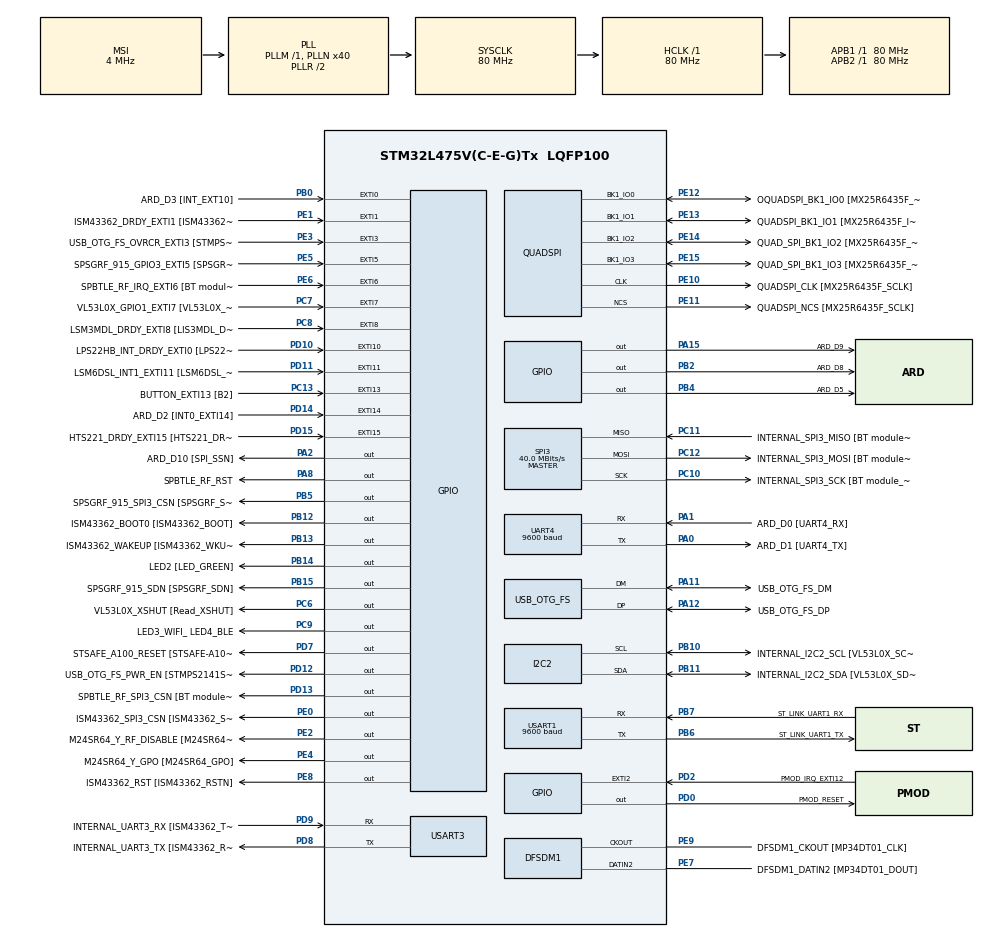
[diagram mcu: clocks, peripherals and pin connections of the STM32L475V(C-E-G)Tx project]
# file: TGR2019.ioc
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Mcu.Family=STM32L4
Mcu.Name=STM32L475V(C-E-G)Tx
Mcu.Package=LQFP100
NVIC.EXTI15_10_IRQn=true\:0\:0\:false\:false\:true\:true
NVIC.EXTI9_5_IRQn=true\:0\:0\:false\:false\:true\:true
NVIC.PriorityGroup=NVIC_PRIORITYGROUP_4
NVIC.TIM6_DAC_IRQn=true\:1\:0\:true\:false\:true\:true
NVIC.UART4_IRQn=true\:3\:0\:true\:false\:true\:true
NVIC.USART1_IRQn=true\:2\:0\:true\:false\:true\:true
PA0.GPIO_Label=ARD_D1 [UART4_TX]
PA0.Mode=Asynchronous
PA0.Signal=UART4_TX
PA1.GPIO_Label=ARD_D0 [UART4_RX]
PA1.Mode=Asynchronous
PA1.Signal=UART4_RX
PA10.GPIO_Label=USB_OTG_FS_ID
PA10.Signal=USB_OTG_FS_ID
PA11.GPIO_Label=USB_OTG_FS_DM
PA11.Mode=Device_Only
PA11.Signal=USB_OTG_FS_DM
PA12.GPIO_Label=USB_OTG_FS_DP
PA12.Mode=Device_Only
PA12.Signal=USB_OTG_FS_DP
PA13\ (JTMS-SWDIO).GPIO_Label=SYS_JTMS_SWDIO
PA13\ (JTMS-SWDIO).Mode=Serial_Wire
PA13\ (JTMS-SWDIO).Signal=SYS_JTMS-SWDIO
PA14\ (JTCK-SWCLK).GPIO_Label=SYS_JTCK_SWCLK
PA14\ (JTCK-SWCLK).Mode=Serial_Wire
PA14\ (JTCK-SWCLK).Signal=SYS_JTCK-SWCLK
PA15\ (JTDI).GPIO_Label=ARD_D9
PA15\ (JTDI).Signal=GPIO_Output
PA2.GPIO_Label=ARD_D10 [SPI_SSN]
PA2.Signal=GPIO_Output
PA3.GPIO_Label=ARD_D4
PA3.Signal=S_TIM2_CH4
PA4.GPIO_Label=ARD_D7
PA4.Signal=ADCx_IN9
PA5.GPIO_Label=ARD_D13 [SPI1_SCK]
PA5.Signal=SPI1_SCK
PA6.GPIO_Label=ARD_D12 [SPI1_MISO]
PA6.Signal=SPI1_MISO
PA7.GPIO_Label=ARD_D11 [SPI1_MOSI]
PA7.Signal=SPI1_MOSI
PA8.GPIO_Label=SPBTLE_RF_RST
PA8.Signal=GPIO_Output
PA9.GPIO_Label=USB_OTG_FS_VBUS [STMPS2141STR_OUT]
PA9.Signal=USB_OTG_FS_VBUS
PB0.GPIO_Label=ARD_D3 [INT_EXT10]
PB0.Signal=GPXTI0
PB1.GPIO_Label=ARD_D6 [ADC1_IN6]
PB1.Signal=ADCx_IN16
PB10.GPIO_Label=INTERNAL_I2C2_SCL [VL53L0X_SCL]
PB10.Mode=I2C
PB10.Signal=I2C2_SCL
PB11.GPIO_Label=INTERNAL_I2C2_SDA [VL53L0X_SDA]
PB11.Mode=I2C
PB11.Signal=I2C2_SDA
PB12.GPIO_Label=ISM43362_BOOT0 [ISM43362_BOOT]
PB12.Signal=GPIO_Output
PB13.GPIO_Label=ISM43362_WAKEUP [ISM43362_WKUP]
PB13.Signal=GPIO_Output
PB14.GPIO_Label=LED2 [LED_GREEN]
PB14.Signal=GPIO_Output
PB15.GPIO_Label=SPSGRF_915_SDN [SPSGRF_SDN]
PB15.Signal=GPIO_Output
PB2.GPIO_Label=ARD_D8
PB2.Signal=GPIO_Output
PB3\ (JTDO-TRACESWO).GPIO_Label=SYS_JTD0_SWO
PB3\ (JTDO-TRACESWO).Signal=SYS_JTDO-SWO
PB4\ (NJTRST).GPIO_Label=ARD_D5
PB4\ (NJTRST).Signal=GPIO_Output
PB5.GPIO_Label=SPSGRF_915_SPI3_CSN [SPSGRF_SPI_CS]
PB5.Signal=GPIO_Output
PB6.GPIO_Label=ST_LINK_UART1_TX
PB6.Mode=Asynchronous
PB6.Signal=USART1_TX
PB7.GPIO_Label=ST_LINK_UART1_RX
PB7.Mode=Asynchronous
PB7.Signal=USART1_RX
PB8.GPIO_Label=ARD_D15 [I2C1_SCL]
PB8.Signal=I2C1_SCL
PB9.GPIO_Label=ARD_D14 [I2C1_SDA]
PB9.Signal=I2C1_SDA
PC0.GPIO_Label=ARD_A5 [ADC]
PC0.Signal=ADCx_IN1
PC1.GPIO_Label=ARD_A4 [ADC]
PC1.Signal=ADCx_IN2
PC10.GPIO_Label=INTERNAL_SPI3_SCK [BT module_SPI_SCLK]
PC10.Mode=Full_Duplex_Master
PC10.Signal=SPI3_SCK
PC11.GPIO_Label=INTERNAL_SPI3_MISO [BT module_SPI_MISO]
PC11.Mode=Full_Duplex_Master
PC11.Signal=SPI3_MISO
PC12.GPIO_Label=INTERNAL_SPI3_MOSI [BT module_SPI_MOSI]
PC12.Mode=Full_Duplex_Master
PC12.Signal=SPI3_MOSI
PC13.GPIO_Label=BUTTON_EXTI13 [B2]
PC13.GPIO_ModeDefaultEXTI=GPIO_MODE_IT_FALLING
PC13.Signal=GPXTI13
PC14-OSC32_IN\ (PC14).Mode=LSE-External-Oscillator
PC14-OSC32_IN\ (PC14).Signal=RCC_OSC32_IN
PC15-OSC32_OUT\ (PC15).Mode=LSE-External-Oscillator
PC15-OSC32_OUT\ (PC15).Signal=RCC_OSC32_OUT
PC2.GPIO_Label=ARD_A3 [ADC]
PC2.Signal=ADCx_IN3
PC3.GPIO_Label=ARD_A2 [ADC]
PC3.Signal=ADCx_IN4
PC4.GPIO_Label=ARD_A1 [ADC]
PC4.Signal=ADCx_IN13
PC5.GPIO_Label=ARD_A0 [ADC]
PC5.Signal=ADCx_IN14
PC6.GPIO_Label=VL53L0X_XSHUT [Read_XSHUT]
PC6.Signal=GPIO_Output
PC7.GPIO_Label=VL53L0X_GPIO1_EXTI7 [VL53L0X_GPIO1]
PC7.Signal=GPXTI7
PC8.GPIO_Label=LSM3MDL_DRDY_EXTI8 [LIS3MDL_DRDY]
PC8.Signal=GPXTI8
PC9.GPIO_Label=LED3_WIFI_ LED4_BLE
PC9.Signal=GPIO_Output
PD0.GPIO_Label=PMOD_RESET
PD0.Signal=GPIO_Output
PD1.GPIO_Label=PMOD_SPI2_SCK
PD1.Signal=SPI2_SCK
PD10.GPIO_Label=LPS22HB_INT_DRDY_EXTI0 [LPS22HB_INT_DRDY] 
PD10.Signal=GPXTI10
PD11.GPIO_Label=LSM6DSL_INT1_EXTI11 [LSM6DSL_INT1]
PD11.Signal=GPXTI11
PD12.GPIO_Label=USB_OTG_FS_PWR_EN [STMPS2141STR_EN]
PD12.Signal=GPIO_Output
PD13.GPIO_Label=SPBTLE_RF_SPI3_CSN [BT module_SPI_CS]
PD13.Signal=GPIO_Output
PD14.GPIO_Label=ARD_D2 [INT0_EXTI14]
PD14.Signal=GPXTI14
PD15.GPIO_Label=HTS221_DRDY_EXTI15 [HTS221_DRDY]
PD15.Signal=GPXTI15
PD2.GPIO_Label=PMOD_IRQ_EXTI12
PD2.Signal=GPXTI2
PD3.GPIO_Label=PMOD_UART2_CTS
PD3.Signal=USART2_CTS
PD4.GPIO_Label=PMOD_UART2_RTS
PD4.Signal=USART2_RTS
PD5.GPIO_Label=PMOD_UART2_TX
PD5.Signal=USART2_TX
PD6.GPIO_Label=PMOD_UART2_RX
PD6.Signal=USART2_RX
PD7.GPIO_Label=STSAFE_A100_RESET [STSAFE-A100_RESET]
PD7.Signal=GPIO_Output
PD8.GPIO_Label=INTERNAL_UART3_TX [ISM43362_RX]
PD8.Mode=Asynchronous
PD8.Signal=USART3_TX
PD9.GPIO_Label=INTERNAL_UART3_RX [ISM43362_TX]
PD9.Mode=Asynchronous
PD9.Signal=USART3_RX
PE0.GPIO_Label=ISM43362_SPI3_CSN [ISM43362_SSN]
PE0.Signal=GPIO_Output
PE1.GPIO_Label=ISM43362_DRDY_EXTI1 [ISM43362_DATARDY]
PE1.Signal=GPXTI1
PE10.GPIO_Label=QUADSPI_CLK [MX25R6435F_SCLK]
PE10.Mode=Single Bank
PE10.Signal=QUADSPI_CLK
PE11.GPIO_Label=QUADSPI_NCS [MX25R6435F_SCLK]
PE11.Mode=Single Bank
PE11.Signal=QUADSPI_NCS
PE12.GPIO_Label=OQUADSPI_BK1_IO0 [MX25R6435F_IO0]
PE12.Mode=Single Bank
PE12.Signal=QUADSPI_BK1_IO0
PE13.GPIO_Label=QUADSPI_BK1_IO1 [MX25R6435F_IO1]
PE13.Mode=Single Bank
PE13.Signal=QUADSPI_BK1_IO1
PE14.GPIO_Label=QUAD_SPI_BK1_IO2 [MX25R6435F_IO2]
PE14.Mode=Single Bank
PE14.Signal=QUADSPI_BK1_IO2
PE15.GPIO_Label=QUAD_SPI_BK1_IO3 [MX25R6435F_IO3]
PE15.Mode=Single Bank
PE15.Signal=QUADSPI_BK1_IO3
PE2.GPIO_Label=M24SR64_Y_RF_DISABLE [M24SR64_RFDIS]
PE2.Signal=GPIO_Output
PE3.GPIO_Label=USB_OTG_FS_OVRCR_EXTI3 [STMPS2141STR_FAULT]
PE3.Signal=GPXTI3
PE4.GPIO_Label=M24SR64_Y_GPO [M24SR64_GPO]
PE4.Signal=GPIO_Output
PE5.GPIO_Label=SPSGRF_915_GPIO3_EXTI5 [SPSGRF_GPIO_3]
PE5.Signal=GPXTI5
PE6.GPIO_Label=SPBTLE_RF_IRQ_EXTI6 [BT module_SPI_IRQ]
PE6.Signal=GPXTI6
PE7.GPIO_Label=DFSDM1_DATIN2 [MP34DT01_DOUT]
PE7.Signal=S_DATAIN2DFSDM1
PE8.GPIO_Label=ISM43362_RST [ISM43362_RSTN]
PE8.Signal=GPIO_Output
PE9.GPIO_Label=DFSDM1_CKOUT [MP34DT01_CLK]
PE9.Signal=S_CKOUTDFSDM1
ProjectManager.HeapSize=0x200
ProjectManager.StackSize=0x400
ProjectManager.TargetToolchain=TrueSTUDIO
RCC.ADCFreq_Value=48000000
RCC.AHBFreq_Value=80000000
RCC.APB1Freq_Value=80000000
RCC.APB1TimFreq_Value=80000000
RCC.APB2Freq_Value=80000000
RCC.APB2TimFreq_Value=80000000
RCC.CortexFreq_Value=80000000
RCC.HCLKFreq_Value=80000000
RCC.HSE_VALUE=8000000
RCC.HSI_VALUE=16000000
RCC.MSI_VALUE=4000000
RCC.PLLN=40
RCC.PLLSAI1N=24
RCC.SYSCLKFreq_VALUE=80000000
RCC.SYSCLKSource=RCC_SYSCLKSOURCE_PLLCLK
RCC.USBFreq_Value=48000000
RCC.VCOOutputFreq_Value=160000000
SH.ADCx_IN1.0=ADC1_IN1
SH.ADCx_IN13.0=ADC1_IN13
SH.ADCx_IN14.0=ADC1_IN14
SH.ADCx_IN16.0=ADC1_IN16
SH.ADCx_IN2.0=ADC1_IN2
SH.ADCx_IN3.0=ADC1_IN3
SH.ADCx_IN4.0=ADC1_IN4
SH.ADCx_IN9.0=ADC1_IN9
SH.S_CKOUTDFSDM1.0=DFSDM1_CKOUT,CKOUT
SH.S_CKOUTDFSDM1.1=DFSDM1_CKOUT,PDM_SPI_Input_from_ch12_and_Internal_Clock
SH.S_DATAIN2DFSDM1.0=DFSDM1_DATIN2,PDM_SPI_Input_from_ch12_and_Internal_Clock
SH.S_TIM2_CH4.0=TIM2_CH4
SPI3.CalculateBaudRate=40.0 MBits/s
SPI3.Direction=SPI_DIRECTION_2LINES
SPI3.Mode=SPI_MODE_MASTER
SPI3.VirtualType=VM_MASTER
TIM6.Period=40000
TIM6.Prescaler=999
UART4.BaudRate=9600
USART1.BaudRate=9600
USART1.VirtualMode-Asynchronous=VM_ASYNC
USART3.VirtualMode-Asynchronous=VM_ASYNC
USB_OTG_FS.VirtualMode=Device_Only
VP_TIM6_VS_ClockSourceINT.Mode=Enable_Timer
board=B-L475E-IOT01A

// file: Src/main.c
/* USER CODE BEGIN Header */
/**
 ******************************************************************************
 * @file           : main.c
 * @brief          : Main program body
 ******************************************************************************
 ** This notice applies to any and all portions of this file
 * that are not between comment pairs USER CODE BEGIN and
 * USER CODE END. Other portions of this file, whether
 * inserted by the user or by software development tools
 * are owned by their respective copyright owners.
 *
 * COPYRIGHT(c) 2019 STMicroelectronics
 *
 * Redistribution and use in source and binary forms, with or without modification,
 * are permitted provided that the following conditions are met:
 *   1. Redistributions of source code must retain the above copyright notice,
 *      this list of conditions and the following disclaimer.
 *   2. Redistributions in binary form must reproduce the above copyright notice,
 *      this list of conditions and the following disclaimer in the documentation
 *      and/or other materials provided with the distribution.
 *   3. Neither the name of STMicroelectronics nor the names of its contributors
 *      may be used to endorse or promote products derived from this software
 *      without specific prior written permission.
 *
 * THIS SOFTWARE IS PROVIDED BY THE COPYRIGHT HOLDERS AND CONTRIBUTORS "AS IS"
 * AND ANY EXPRESS OR IMPLIED WARRANTIES, INCLUDING, BUT NOT LIMITED TO, THE
 * IMPLIED WARRANTIES OF MERCHANTABILITY AND FITNESS FOR A PARTICULAR PURPOSE ARE
 * DISCLAIMED. IN NO EVENT SHALL THE COPYRIGHT HOLDER OR CONTRIBUTORS BE LIABLE
 * FOR ANY DIRECT, INDIRECT, INCIDENTAL, SPECIAL, EXEMPLARY, OR CONSEQUENTIAL
 * DAMAGES (INCLUDING, BUT NOT LIMITED TO, PROCUREMENT OF SUBSTITUTE GOODS OR
 * SERVICES; LOSS OF USE, DATA, OR PROFITS; OR BUSINESS INTERRUPTION) HOWEVER
 * CAUSED AND ON ANY THEORY OF LIABILITY, WHETHER IN CONTRACT, STRICT LIABILITY,
 * OR TORT (INCLUDING NEGLIGENCE OR OTHERWISE) ARISING IN ANY WAY OUT OF THE USE
 * OF THIS SOFTWARE, EVEN IF ADVISED OF THE POSSIBILITY OF SUCH DAMAGE.
 *
 ******************************************************************************
 */
/* USER CODE END Header */

#include "main.h"
#include <stdlib.h>
#include <string.h>
#include "math.h"

/* USER CODE BEGIN PD */
#define LPP_DATATYPE_DIGITAL_INPUT  0x0
#define LPP_DATATYPE_DIGITAL_OUTPUT 0x1
#define LPP_DATATYPE_HUMIDITY       0x68
#define LPP_DATATYPE_TEMPERATURE    0x67
#define LPP_DATATYPE_BAROMETER      0x73
#define LPP_DATATYPE_ANAGLOG_OUTPUT 0x3
#define LPP_DATATYPE_ACCMETER 0x71
#define LPP_DATATYPE_GYRMETER 0x86
#define LPP_APP_PORT 99
#define PI 3.141
/* USER CODE END PD */

DFSDM_Channel_HandleTypeDef hdfsdm1_channel1;

I2C_HandleTypeDef hi2c2;

QSPI_HandleTypeDef hqspi;

SPI_HandleTypeDef hspi3;

TIM_HandleTypeDef htim6;

UART_HandleTypeDef huart4;
UART_HandleTypeDef huart1;
UART_HandleTypeDef huart3;

PCD_HandleTypeDef hpcd_USB_OTG_FS;

/* USER CODE BEGIN PV */
extern I2C_HandleTypeDef hI2cHandler;
VL53L0X_Dev_t Dev = { .I2cHandle = &hI2cHandler, .I2cDevAddr =
PROXIMITY_I2C_ADDRESS };
/* USER CODE END PV */

void SystemClock_Config(void);
static void MX_GPIO_Init(void);
static void MX_DFSDM1_Init(void);
static void MX_I2C2_Init(void);
static void MX_QUADSPI_Init(void);
static void MX_SPI3_Init(void);
static void MX_USART1_UART_Init(void);
static void MX_USART3_UART_Init(void);
static void MX_USB_OTG_FS_PCD_Init(void);
static void MX_TIM6_Init(void);
static void MX_UART4_Init(void);
/* USER CODE BEGIN PFP */
static void VL53L0X_PROXIMITY_MspInit(void);
static uint16_t VL53L0X_PROXIMITY_GetDistance(void);
static void VL53L0X_PROXIMITY_Init(void);
void Send_Data(uint8_t *Data_DAT, uint8_t len_DAT);
void Function_Send_Sensor(uint8_t Sensor_DAT);
void sendToTerminal(uint8_t *Data_DAT, uint8_t len_DAT);
void delay(int time);
void putData(char* text);
static float convertToDegree(int16_t* magValue);
void getData(void);
/* USER CODE END PFP */

/* USER CODE BEGIN 0 */
float Temp_Value;
float Hum_Value;
float Pressure_Value;
int16_t Acc_Value[3] = { 0 };
float Gyro_Value[3] = { 0 };
int16_t Mag_Value[3] = { 0 };
uint16_t Prox_Value;
float gyrX, gyrY, gyrZ;

uint8_t sendBuff[64];
uint8_t sendCheck[64];
uint8_t isJoin[64];

static uint8_t len;
extern uint16_t RX_BUFF[64];
extern uint8_t SERIAL_ACTIVE;
/* USER CODE END 0 */

int main(void) {

	/* MCU Configuration--------------------------------------------------------*/

	/* Reset of all peripherals, Initializes the Flash interface and the Systick. */
	HAL_Init();

	/* Configure the system clock */
	SystemClock_Config();

	/* Initialize all configured peripherals */
	MX_GPIO_Init();
	MX_DFSDM1_Init();
	MX_I2C2_Init();
	MX_QUADSPI_Init();
	MX_SPI3_Init();
	MX_USART1_UART_Init();
	MX_USART3_UART_Init();
	MX_USB_OTG_FS_PCD_Init();
	MX_TIM6_Init();
	MX_UART4_Init();
	/* USER CODE BEGIN 2 */
	BSP_PSENSOR_Init();
	BSP_TSENSOR_Init();
	BSP_GYRO_Init();
	BSP_ACCELERO_Init();
	BSP_HSENSOR_Init();
	BSP_MAGNETO_Init();

	VL53L0X_PROXIMITY_Init();

	__HAL_UART_ENABLE_IT(&huart1, UART_IT_RXNE);

	__HAL_UART_ENABLE_IT(&huart4, UART_IT_RXNE);

	__HAL_TIM_ENABLE_IT(&htim6, TIM_IT_UPDATE);

	len = sprintf(sendCheck, "Hi\n");
	sendToTerminal(sendCheck, len);
//	len = sprintf(sendCheck, "%d", len);
//	checkData(sendCheck, len);

	/* USER CODE END 2 */
	len = sprintf(sendBuff, "AT\n");
	Send_Data(sendBuff, len);
	delay(1000);
	len = sprintf(sendBuff, "AT+JOIN\n");
	Send_Data(sendBuff, len);
	delay(2000);
	uint8_t isConnect = '0';
	while (isConnect != '1') {

		len = sprintf(sendBuff, "AT+NJS=?\n");
		getData();
		Send_Data(sendBuff, len);
		len = sprintf(sendCheck, "AT+NJS=?\n");
		sendToTerminal(sendCheck, len);
		len = sprintf(sendCheck, "waiting\n");
		sendToTerminal(sendCheck, len);
		len = sprintf(sendCheck, "Status:%s\n\n\n", (char*) isJoin);
		sendToTerminal(sendCheck, len);

		isConnect = isJoin[0];
		delay(3000);
	}
	len = sprintf(sendCheck, "Cennected to lora !\n");
	sendToTerminal(sendCheck, len);
//	len = sprintf(sendBuff, "AT+NJS=?\n");
//	Send_Data(sendBuff, len);
//	delay(6000);
//	len = sprintf(sendBuff, "AT+NJS=?\n");
//	Send_Data(sendBuff, len);
	BSP_MAGNETO_GetXYZ(Mag_Value);
	uint8_t pIn = 0, pOut = 0;
	uint8_t timeCount = 60;
	float initMagDegs = convertToDegree(Mag_Value);
	uint8_t currentQ = 0;
	uint8_t nextQ = 0;
	len = sprintf(sendCheck, "Test");
	sendToTerminal(sendCheck, len);
	len = sprintf(sendCheck, "Degs: %f\n", initMagDegs);
	sendToTerminal(sendCheck, len);
	if ((initMagDegs > 0.0) && (initMagDegs <= 90.0)) {
		currentQ = 1;
	} else if ((initMagDegs > 90.0) && (initMagDegs <= 180.0)) {
		currentQ = 2;
	} else if ((initMagDegs > 180.0) && (initMagDegs <= 270.0)) {
		currentQ = 3;
	} else if (initMagDegs > 270.0) {
		currentQ = 4;
	}
	while (1) {
		BSP_MAGNETO_GetXYZ(Mag_Value);
		// setup value
		float currentMagDegs = convertToDegree(Mag_Value);

		len = sprintf(sendCheck, "Current Degs: %f\n", currentMagDegs);
		sendToTerminal(sendCheck, len);

		len = sprintf(sendCheck, "Current Q: %u\n", currentQ);
		sendToTerminal(sendCheck, len);

		if ((currentMagDegs > 0.0) && (currentMagDegs <= 90.0)) {
			nextQ = 1;
		} else if ((currentMagDegs > 90.0) && (currentMagDegs <= 180.0)) {
			nextQ = 2;
		} else if ((currentMagDegs > 180.0) && (currentMagDegs <= 270.0)) {
			nextQ = 3;
		} else if (currentMagDegs > 270.0) {
			nextQ = 4;
		}
		len = sprintf(sendCheck, "next Q: %u\n", nextQ);
		sendToTerminal(sendCheck, len);

		if (currentQ == 4 && nextQ == 1) {
			pIn++;
			currentQ = nextQ;
		} else if (currentQ == 1 && nextQ == 4) {
			pOut++;
			currentQ = nextQ;
		} else if (nextQ < currentQ) {
			pIn++;
			currentQ = nextQ;
		} else if (nextQ > currentQ) {
			pOut++;
			currentQ = nextQ;
		}
		len = sprintf(sendCheck, "current P in: %u\n", pIn);
		sendToTerminal(sendCheck, len);
		len = sprintf(sendCheck, "Current P out: %u\n\n", pOut);
		sendToTerminal(sendCheck, len);

		if (--timeCount <= 0) {
			Pressure_Value = BSP_PSENSOR_ReadPressure();
			Temp_Value = BSP_TSENSOR_ReadTemp();
			Hum_Value = BSP_HSENSOR_ReadHumidity();
			BSP_ACCELERO_AccGetXYZ(Acc_Value);
			//
			BSP_GYRO_GetXYZ(Gyro_Value);
			Prox_Value = VL53L0X_PROXIMITY_GetDistance();

			uint16_t tempValue = (uint16_t) (Temp_Value * 10 + 0.5);
			uint16_t humidity = (uint16_t) (Hum_Value * 2);
			len = sprintf(sendBuff,
					"AT+SENDB=99:0067%02x%02x0168%02x0266%02x0366%02x\n",
					(uint8_t) (tempValue >> 8), (uint8_t) tempValue,
					(uint8_t) humidity, (uint8_t) pIn, (uint8_t) pOut);

			Send_Data(sendBuff, len);
			timeCount = 60;
			pIn = 0;
			pOut = 0;
		}
		delay(500);
//		//round value

//		gyrX = Gyro_Value[0];
//		gyrY = Gyro_Value[0];
//
//		len = sprintf(sendBuff,
//				"AT+SENDB=99:0067%02x%02x0168%02x026600036600\n",
//				(uint8_t) (tempValue >> 8), (uint8_t) tempValue,
//				(uint8_t) humidity);
//
//		Send_Data(sendBuff, len);
//		delay(10000);

//
//		if (SERIAL_ACTIVE == 1) {
//		Function_Send_Sensor();
//			SERIAL_ACTIVE = 0;
//		}
		/* USER CODE END WHILE */

	}
}

static float convertToDegree(int16_t* magValue) {
	float degs = atan2(-magValue[1], -magValue[0]) * 180 / PI;
	if (degs < 0)
		degs += 360;
	return degs;
}

void putData(char* text) {
	len = sprintf(sendBuff, text);
	Send_Data(sendBuff, len);
}
void delay(int time) {
	HAL_Delay(time);
}
void SystemClock_Config(void) {
	RCC_OscInitTypeDef RCC_OscInitStruct = { 0 };
	RCC_ClkInitTypeDef RCC_ClkInitStruct = { 0 };
	RCC_PeriphCLKInitTypeDef PeriphClkInit = { 0 };

	/**Configure LSE Drive Capability
	 */
	HAL_PWR_EnableBkUpAccess();
	__HAL_RCC_LSEDRIVE_CONFIG(RCC_LSEDRIVE_LOW);
	/**Initializes the CPU, AHB and APB busses clocks
	 */
	RCC_OscInitStruct.OscillatorType = RCC_OSCILLATORTYPE_LSE
			| RCC_OSCILLATORTYPE_MSI;
	RCC_OscInitStruct.LSEState = RCC_LSE_ON;
	RCC_OscInitStruct.MSIState = RCC_MSI_ON;
	RCC_OscInitStruct.MSICalibrationValue = 0;
	RCC_OscInitStruct.MSIClockRange = RCC_MSIRANGE_6;
	RCC_OscInitStruct.PLL.PLLState = RCC_PLL_ON;
	RCC_OscInitStruct.PLL.PLLSource = RCC_PLLSOURCE_MSI;
	RCC_OscInitStruct.PLL.PLLM = 1;
	RCC_OscInitStruct.PLL.PLLN = 40;
	RCC_OscInitStruct.PLL.PLLP = RCC_PLLP_DIV7;
	RCC_OscInitStruct.PLL.PLLQ = RCC_PLLQ_DIV2;
	RCC_OscInitStruct.PLL.PLLR = RCC_PLLR_DIV2;
	if (HAL_RCC_OscConfig(&RCC_OscInitStruct) != HAL_OK) {
		Error_Handler();
	}
	/**Initializes the CPU, AHB and APB busses clocks
	 */
	RCC_ClkInitStruct.ClockType = RCC_CLOCKTYPE_HCLK | RCC_CLOCKTYPE_SYSCLK
			| RCC_CLOCKTYPE_PCLK1 | RCC_CLOCKTYPE_PCLK2;
	RCC_ClkInitStruct.SYSCLKSource = RCC_SYSCLKSOURCE_PLLCLK;
	RCC_ClkInitStruct.AHBCLKDivider = RCC_SYSCLK_DIV1;
	RCC_ClkInitStruct.APB1CLKDivider = RCC_HCLK_DIV1;
	RCC_ClkInitStruct.APB2CLKDivider = RCC_HCLK_DIV1;

	if (HAL_RCC_ClockConfig(&RCC_ClkInitStruct, FLASH_LATENCY_4) != HAL_OK) {
		Error_Handler();
	}
	PeriphClkInit.PeriphClockSelection = RCC_PERIPHCLK_USART1
			| RCC_PERIPHCLK_USART3 | RCC_PERIPHCLK_UART4 | RCC_PERIPHCLK_I2C2
			| RCC_PERIPHCLK_DFSDM1 | RCC_PERIPHCLK_USB;
	PeriphClkInit.Usart1ClockSelection = RCC_USART1CLKSOURCE_PCLK2;
	PeriphClkInit.Usart3ClockSelection = RCC_USART3CLKSOURCE_PCLK1;
	PeriphClkInit.Uart4ClockSelection = RCC_UART4CLKSOURCE_PCLK1;
	PeriphClkInit.I2c2ClockSelection = RCC_I2C2CLKSOURCE_PCLK1;
	PeriphClkInit.Dfsdm1ClockSelection = RCC_DFSDM1CLKSOURCE_PCLK;
	PeriphClkInit.UsbClockSelection = RCC_USBCLKSOURCE_PLLSAI1;
	PeriphClkInit.PLLSAI1.PLLSAI1Source = RCC_PLLSOURCE_MSI;
	PeriphClkInit.PLLSAI1.PLLSAI1M = 1;
	PeriphClkInit.PLLSAI1.PLLSAI1N = 24;
	PeriphClkInit.PLLSAI1.PLLSAI1P = RCC_PLLP_DIV7;
	PeriphClkInit.PLLSAI1.PLLSAI1Q = RCC_PLLQ_DIV2;
	PeriphClkInit.PLLSAI1.PLLSAI1R = RCC_PLLR_DIV2;
	PeriphClkInit.PLLSAI1.PLLSAI1ClockOut = RCC_PLLSAI1_48M2CLK;
	if (HAL_RCCEx_PeriphCLKConfig(&PeriphClkInit) != HAL_OK) {
		Error_Handler();
	}
	/**Configure the main internal regulator output voltage
	 */
	if (HAL_PWREx_ControlVoltageScaling(PWR_REGULATOR_VOLTAGE_SCALE1)
			!= HAL_OK) {
		Error_Handler();
	}
	/**Enable MSI Auto calibration
	 */
	HAL_RCCEx_EnableMSIPLLMode();
}

static void MX_DFSDM1_Init(void) {

	hdfsdm1_channel1.Instance = DFSDM1_Channel1;
	hdfsdm1_channel1.Init.OutputClock.Activation = ENABLE;
	hdfsdm1_channel1.Init.OutputClock.Selection =
	DFSDM_CHANNEL_OUTPUT_CLOCK_SYSTEM;
	hdfsdm1_channel1.Init.OutputClock.Divider = 2;
	hdfsdm1_channel1.Init.Input.Multiplexer = DFSDM_CHANNEL_EXTERNAL_INPUTS;
	hdfsdm1_channel1.Init.Input.DataPacking = DFSDM_CHANNEL_STANDARD_MODE;
	hdfsdm1_channel1.Init.Input.Pins = DFSDM_CHANNEL_FOLLOWING_CHANNEL_PINS;
	hdfsdm1_channel1.Init.SerialInterface.Type = DFSDM_CHANNEL_SPI_RISING;
	hdfsdm1_channel1.Init.SerialInterface.SpiClock =
	DFSDM_CHANNEL_SPI_CLOCK_INTERNAL;
	hdfsdm1_channel1.Init.Awd.FilterOrder = DFSDM_CHANNEL_FASTSINC_ORDER;
	hdfsdm1_channel1.Init.Awd.Oversampling = 1;
	hdfsdm1_channel1.Init.Offset = 0;
	hdfsdm1_channel1.Init.RightBitShift = 0x00;
	if (HAL_DFSDM_ChannelInit(&hdfsdm1_channel1) != HAL_OK) {
		Error_Handler();
	}

}

static void MX_I2C2_Init(void) {

	hi2c2.Instance = I2C2;
	hi2c2.Init.Timing = 0x10909CEC;
	hi2c2.Init.OwnAddress1 = 0;
	hi2c2.Init.AddressingMode = I2C_ADDRESSINGMODE_7BIT;
	hi2c2.Init.DualAddressMode = I2C_DUALADDRESS_DISABLE;
	hi2c2.Init.OwnAddress2 = 0;
	hi2c2.Init.OwnAddress2Masks = I2C_OA2_NOMASK;
	hi2c2.Init.GeneralCallMode = I2C_GENERALCALL_DISABLE;
	hi2c2.Init.NoStretchMode = I2C_NOSTRETCH_DISABLE;
	if (HAL_I2C_Init(&hi2c2) != HAL_OK) {
		Error_Handler();
	}
	/**Configure Analogue filter
	 */
	if (HAL_I2CEx_ConfigAnalogFilter(&hi2c2, I2C_ANALOGFILTER_ENABLE)
			!= HAL_OK) {
		Error_Handler();
	}
	/**Configure Digital filter
	 */
	if (HAL_I2CEx_ConfigDigitalFilter(&hi2c2, 0) != HAL_OK) {
		Error_Handler();
	}

}

static void MX_QUADSPI_Init(void) {

	/* QUADSPI parameter configuration*/
	hqspi.Instance = QUADSPI;
	hqspi.Init.ClockPrescaler = 255;
	hqspi.Init.FifoThreshold = 1;
	hqspi.Init.SampleShifting = QSPI_SAMPLE_SHIFTING_NONE;
	hqspi.Init.FlashSize = 1;
	hqspi.Init.ChipSelectHighTime = QSPI_CS_HIGH_TIME_1_CYCLE;
	hqspi.Init.ClockMode = QSPI_CLOCK_MODE_0;
	if (HAL_QSPI_Init(&hqspi) != HAL_OK) {
		Error_Handler();
	}

}

static void MX_SPI3_Init(void) {

	/* SPI3 parameter configuration*/
	hspi3.Instance = SPI3;
	hspi3.Init.Mode = SPI_MODE_MASTER;
	hspi3.Init.Direction = SPI_DIRECTION_2LINES;
	hspi3.Init.DataSize = SPI_DATASIZE_4BIT;
	hspi3.Init.CLKPolarity = SPI_POLARITY_LOW;
	hspi3.Init.CLKPhase = SPI_PHASE_1EDGE;
	hspi3.Init.NSS = SPI_NSS_SOFT;
	hspi3.Init.BaudRatePrescaler = SPI_BAUDRATEPRESCALER_2;
	hspi3.Init.FirstBit = SPI_FIRSTBIT_MSB;
	hspi3.Init.TIMode = SPI_TIMODE_DISABLE;
	hspi3.Init.CRCCalculation = SPI_CRCCALCULATION_DISABLE;
	hspi3.Init.CRCPolynomial = 7;
	hspi3.Init.CRCLength = SPI_CRC_LENGTH_DATASIZE;
	hspi3.Init.NSSPMode = SPI_NSS_PULSE_ENABLE;
	if (HAL_SPI_Init(&hspi3) != HAL_OK) {
		Error_Handler();
	}

}

static void MX_TIM6_Init(void) {

	TIM_MasterConfigTypeDef sMasterConfig = { 0 };

	htim6.Instance = TIM6;
	htim6.Init.Prescaler = 999;
	htim6.Init.CounterMode = TIM_COUNTERMODE_UP;
	htim6.Init.Period = 40000;
	htim6.Init.AutoReloadPreload = TIM_AUTORELOAD_PRELOAD_DISABLE;
	if (HAL_TIM_Base_Init(&htim6) != HAL_OK) {
		Error_Handler();
	}
	sMasterConfig.MasterOutputTrigger = TIM_TRGO_RESET;
	sMasterConfig.MasterSlaveMode = TIM_MASTERSLAVEMODE_DISABLE;
	if (HAL_TIMEx_MasterConfigSynchronization(&htim6, &sMasterConfig)
			!= HAL_OK) {
		Error_Handler();
	}

}

static void MX_UART4_Init(void) {

	huart4.Instance = UART4;
	huart4.Init.BaudRate = 9600;
	huart4.Init.WordLength = UART_WORDLENGTH_8B;
	huart4.Init.StopBits = UART_STOPBITS_1;
	huart4.Init.Parity = UART_PARITY_NONE;
	huart4.Init.Mode = UART_MODE_TX_RX;
	huart4.Init.HwFlowCtl = UART_HWCONTROL_NONE;
	huart4.Init.OverSampling = UART_OVERSAMPLING_16;
	huart4.Init.OneBitSampling = UART_ONE_BIT_SAMPLE_DISABLE;
	huart4.AdvancedInit.AdvFeatureInit = UART_ADVFEATURE_NO_INIT;
	if (HAL_UART_Init(&huart4) != HAL_OK) {
		Error_Handler();
	}

}

static void MX_USART1_UART_Init(void) {

	huart1.Instance = USART1;
	huart1.Init.BaudRate = 9600;
	huart1.Init.WordLength = UART_WORDLENGTH_8B;
	huart1.Init.StopBits = UART_STOPBITS_1;
	huart1.Init.Parity = UART_PARITY_NONE;
	huart1.Init.Mode = UART_MODE_TX_RX;
	huart1.Init.HwFlowCtl = UART_HWCONTROL_NONE;
	huart1.Init.OverSampling = UART_OVERSAMPLING_16;
	huart1.Init.OneBitSampling = UART_ONE_BIT_SAMPLE_DISABLE;
	huart1.AdvancedInit.AdvFeatureInit = UART_ADVFEATURE_NO_INIT;
	if (HAL_UART_Init(&huart1) != HAL_OK) {
		Error_Handler();
	}

}

static void MX_USART3_UART_Init(void) {

	huart3.Instance = USART3;
	huart3.Init.BaudRate = 115200;
	huart3.Init.WordLength = UART_WORDLENGTH_8B;
	huart3.Init.StopBits = UART_STOPBITS_1;
	huart3.Init.Parity = UART_PARITY_NONE;
	huart3.Init.Mode = UART_MODE_TX_RX;
	huart3.Init.HwFlowCtl = UART_HWCONTROL_NONE;
	huart3.Init.OverSampling = UART_OVERSAMPLING_16;
	huart3.Init.OneBitSampling = UART_ONE_BIT_SAMPLE_DISABLE;
	huart3.AdvancedInit.AdvFeatureInit = UART_ADVFEATURE_NO_INIT;
	if (HAL_UART_Init(&huart3) != HAL_OK) {
		Error_Handler();
	}

}

static void MX_USB_OTG_FS_PCD_Init(void) {

	hpcd_USB_OTG_FS.Instance = USB_OTG_FS;
	hpcd_USB_OTG_FS.Init.dev_endpoints = 6;
	hpcd_USB_OTG_FS.Init.speed = PCD_SPEED_FULL;
	hpcd_USB_OTG_FS.Init.ep0_mps = DEP0CTL_MPS_64;
	hpcd_USB_OTG_FS.Init.phy_itface = PCD_PHY_EMBEDDED;
	hpcd_USB_OTG_FS.Init.Sof_enable = DISABLE;
	hpcd_USB_OTG_FS.Init.low_power_enable = DISABLE;
	hpcd_USB_OTG_FS.Init.lpm_enable = DISABLE;
	hpcd_USB_OTG_FS.Init.battery_charging_enable = DISABLE;
	hpcd_USB_OTG_FS.Init.use_dedicated_ep1 = DISABLE;
	hpcd_USB_OTG_FS.Init.vbus_sensing_enable = DISABLE;
	if (HAL_PCD_Init(&hpcd_USB_OTG_FS) != HAL_OK) {
		Error_Handler();
	}

}

static void MX_GPIO_Init(void) {
	GPIO_InitTypeDef GPIO_InitStruct = { 0 };

	/* GPIO Ports Clock Enable */
	__HAL_RCC_GPIOE_CLK_ENABLE()
	;
	__HAL_RCC_GPIOC_CLK_ENABLE()
	;
	__HAL_RCC_GPIOA_CLK_ENABLE()
	;
	__HAL_RCC_GPIOB_CLK_ENABLE()
	;
	__HAL_RCC_GPIOD_CLK_ENABLE()
	;

	/*Configure GPIO pin Output Level */
	HAL_GPIO_WritePin(GPIOE,
			M24SR64_Y_RF_DISABLE_Pin | M24SR64_Y_GPO_Pin | ISM43362_RST_Pin
					| ISM43362_SPI3_CSN_Pin, GPIO_PIN_RESET);

	/*Configure GPIO pin Output Level */
	HAL_GPIO_WritePin(GPIOA, ARD_D10_Pin | SPBTLE_RF_RST_Pin | ARD_D9_Pin,
			GPIO_PIN_RESET);

	/*Configure GPIO pin Output Level */
	HAL_GPIO_WritePin(GPIOB,
			ARD_D8_Pin | ISM43362_BOOT0_Pin | ISM43362_WAKEUP_Pin | LED2_Pin
					| SPSGRF_915_SDN_Pin | ARD_D5_Pin | SPSGRF_915_SPI3_CSN_Pin,
			GPIO_PIN_RESET);

	/*Configure GPIO pin Output Level */
	HAL_GPIO_WritePin(GPIOD,
			USB_OTG_FS_PWR_EN_Pin | SPBTLE_RF_SPI3_CSN_Pin | PMOD_RESET_Pin
					| STSAFE_A100_RESET_Pin, GPIO_PIN_RESET);

	/*Configure GPIO pin Output Level */
	HAL_GPIO_WritePin(GPIOC, VL53L0X_XSHUT_Pin | LED3_WIFI__LED4_BLE_Pin,
			GPIO_PIN_RESET);

	/*Configure GPIO pins : M24SR64_Y_RF_DISABLE_Pin M24SR64_Y_GPO_Pin ISM43362_RST_Pin ISM43362_SPI3_CSN_Pin */
	GPIO_InitStruct.Pin = M24SR64_Y_RF_DISABLE_Pin | M24SR64_Y_GPO_Pin
			| ISM43362_RST_Pin | ISM43362_SPI3_CSN_Pin;
	GPIO_InitStruct.Mode = GPIO_MODE_OUTPUT_PP;
	GPIO_InitStruct.Pull = GPIO_NOPULL;
	GPIO_InitStruct.Speed = GPIO_SPEED_FREQ_LOW;
	HAL_GPIO_Init(GPIOE, &GPIO_InitStruct);

	/*Configure GPIO pins : USB_OTG_FS_OVRCR_EXTI3_Pin SPSGRF_915_GPIO3_EXTI5_Pin SPBTLE_RF_IRQ_EXTI6_Pin ISM43362_DRDY_EXTI1_Pin */
	GPIO_InitStruct.Pin = USB_OTG_FS_OVRCR_EXTI3_Pin
			| SPSGRF_915_GPIO3_EXTI5_Pin | SPBTLE_RF_IRQ_EXTI6_Pin
			| ISM43362_DRDY_EXTI1_Pin;
	GPIO_InitStruct.Mode = GPIO_MODE_IT_RISING;
	GPIO_InitStruct.Pull = GPIO_NOPULL;
	HAL_GPIO_Init(GPIOE, &GPIO_InitStruct);

	/*Configure GPIO pin : BUTTON_EXTI13_Pin */
	GPIO_InitStruct.Pin = BUTTON_EXTI13_Pin;
	GPIO_InitStruct.Mode = GPIO_MODE_IT_FALLING;
	GPIO_InitStruct.Pull = GPIO_NOPULL;
	HAL_GPIO_Init(BUTTON_EXTI13_GPIO_Port, &GPIO_InitStruct);

	/*Configure GPIO pins : ARD_A5_Pin ARD_A4_Pin ARD_A3_Pin ARD_A2_Pin
	 ARD_A1_Pin ARD_A0_Pin */
	GPIO_InitStruct.Pin = ARD_A5_Pin | ARD_A4_Pin | ARD_A3_Pin | ARD_A2_Pin
			| ARD_A1_Pin | ARD_A0_Pin;
	GPIO_InitStruct.Mode = GPIO_MODE_ANALOG_ADC_CONTROL;
	GPIO_InitStruct.Pull = GPIO_NOPULL;
	HAL_GPIO_Init(GPIOC, &GPIO_InitStruct);

	/*Configure GPIO pins : ARD_D10_Pin SPBTLE_RF_RST_Pin ARD_D9_Pin */
	GPIO_InitStruct.Pin = ARD_D10_Pin | SPBTLE_RF_RST_Pin | ARD_D9_Pin;
	GPIO_InitStruct.Mode = GPIO_MODE_OUTPUT_PP;
	GPIO_InitStruct.Pull = GPIO_NOPULL;
	GPIO_InitStruct.Speed = GPIO_SPEED_FREQ_LOW;
	HAL_GPIO_Init(GPIOA, &GPIO_InitStruct);

	/*Configure GPIO pin : ARD_D4_Pin */
	GPIO_InitStruct.Pin = ARD_D4_Pin;
	GPIO_InitStruct.Mode = GPIO_MODE_AF_PP;
	GPIO_InitStruct.Pull = GPIO_NOPULL;
	GPIO_InitStruct.Speed = GPIO_SPEED_FREQ_LOW;
	GPIO_InitStruct.Alternate = GPIO_AF1_TIM2;
	HAL_GPIO_Init(ARD_D4_GPIO_Port, &GPIO_InitStruct);

	/*Configure GPIO pin : ARD_D7_Pin */
	GPIO_InitStruct.Pin = ARD_D7_Pin;
	GPIO_InitStruct.Mode = GPIO_MODE_ANALOG_ADC_CONTROL;
	GPIO_InitStruct.Pull = GPIO_NOPULL;
	HAL_GPIO_Init(ARD_D7_GPIO_Port, &GPIO_InitStruct);

	/*Configure GPIO pins : ARD_D13_Pin ARD_D12_Pin ARD_D11_Pin */
	GPIO_InitStruct.Pin = ARD_D13_Pin | ARD_D12_Pin | ARD_D11_Pin;
	GPIO_InitStruct.Mode = GPIO_MODE_AF_PP;
	GPIO_InitStruct.Pull = GPIO_NOPULL;
	GPIO_InitStruct.Speed = GPIO_SPEED_FREQ_VERY_HIGH;
	GPIO_InitStruct.Alternate = GPIO_AF5_SPI1;
	HAL_GPIO_Init(GPIOA, &GPIO_InitStruct);

	/*Configure GPIO pin : ARD_D3_Pin */
	GPIO_InitStruct.Pin = ARD_D3_Pin;
	GPIO_InitStruct.Mode = GPIO_MODE_IT_RISING;
	GPIO_InitStruct.Pull = GPIO_NOPULL;
	HAL_GPIO_Init(ARD_D3_GPIO_Port, &GPIO_InitStruct);

	/*Configure GPIO pin : ARD_D6_Pin */
	GPIO_InitStruct.Pin = ARD_D6_Pin;
	GPIO_InitStruct.Mode = GPIO_MODE_ANALOG_ADC_CONTROL;
	GPIO_InitStruct.Pull = GPIO_NOPULL;
	HAL_GPIO_Init(ARD_D6_GPIO_Port, &GPIO_InitStruct);

	/*Configure GPIO pins : ARD_D8_Pin ISM43362_BOOT0_Pin ISM43362_WAKEUP_Pin LED2_Pin
	 SPSGRF_915_SDN_Pin ARD_D5_Pin SPSGRF_915_SPI3_CSN_Pin */
	GPIO_InitStruct.Pin = ARD_D8_Pin | ISM43362_BOOT0_Pin | ISM43362_WAKEUP_Pin
			| LED2_Pin | SPSGRF_915_SDN_Pin | ARD_D5_Pin
			| SPSGRF_915_SPI3_CSN_Pin;
	GPIO_InitStruct.Mode = GPIO_MODE_OUTPUT_PP;
	GPIO_InitStruct.Pull = GPIO_NOPULL;
	GPIO_InitStruct.Speed = GPIO_SPEED_FREQ_LOW;
	HAL_GPIO_Init(GPIOB, &GPIO_InitStruct);

	/*Configure GPIO pins : LPS22HB_INT_DRDY_EXTI0_Pin LSM6DSL_INT1_EXTI11_Pin ARD_D2_Pin HTS221_DRDY_EXTI15_Pin
	 PMOD_IRQ_EXTI12_Pin */
	GPIO_InitStruct.Pin = LPS22HB_INT_DRDY_EXTI0_Pin | LSM6DSL_INT1_EXTI11_Pin
			| ARD_D2_Pin | HTS221_DRDY_EXTI15_Pin | PMOD_IRQ_EXTI12_Pin;
	GPIO_InitStruct.Mode = GPIO_MODE_IT_RISING;
	GPIO_InitStruct.Pull = GPIO_NOPULL;
	HAL_GPIO_Init(GPIOD, &GPIO_InitStruct);

	/*Configure GPIO pins : USB_OTG_FS_PWR_EN_Pin SPBTLE_RF_SPI3_CSN_Pin PMOD_RESET_Pin STSAFE_A100_RESET_Pin */
	GPIO_InitStruct.Pin = USB_OTG_FS_PWR_EN_Pin | SPBTLE_RF_SPI3_CSN_Pin
			| PMOD_RESET_Pin | STSAFE_A100_RESET_Pin;
	GPIO_InitStruct.Mode = GPIO_MODE_OUTPUT_PP;
	GPIO_InitStruct.Pull = GPIO_NOPULL;
	GPIO_InitStruct.Speed = GPIO_SPEED_FREQ_LOW;
	HAL_GPIO_Init(GPIOD, &GPIO_InitStruct);

	/*Configure GPIO pins : VL53L0X_XSHUT_Pin LED3_WIFI__LED4_BLE_Pin */
	GPIO_InitStruct.Pin = VL53L0X_XSHUT_Pin | LED3_WIFI__LED4_BLE_Pin;
	GPIO_InitStruct.Mode = GPIO_MODE_OUTPUT_PP;
	GPIO_InitStruct.Pull = GPIO_NOPULL;
	GPIO_InitStruct.Speed = GPIO_SPEED_FREQ_LOW;
	HAL_GPIO_Init(GPIOC, &GPIO_InitStruct);

	/*Configure GPIO pins : VL53L0X_GPIO1_EXTI7_Pin LSM3MDL_DRDY_EXTI8_Pin */
	GPIO_InitStruct.Pin = VL53L0X_GPIO1_EXTI7_Pin | LSM3MDL_DRDY_EXTI8_Pin;
	GPIO_InitStruct.Mode = GPIO_MODE_IT_RISING;
	GPIO_InitStruct.Pull = GPIO_NOPULL;
	HAL_GPIO_Init(GPIOC, &GPIO_InitStruct);

	/*Configure GPIO pin : PMOD_SPI2_SCK_Pin */
	GPIO_InitStruct.Pin = PMOD_SPI2_SCK_Pin;
	GPIO_InitStruct.Mode = GPIO_MODE_AF_PP;
	GPIO_InitStruct.Pull = GPIO_NOPULL;
	GPIO_InitStruct.Speed = GPIO_SPEED_FREQ_VERY_HIGH;
	GPIO_InitStruct.Alternate = GPIO_AF5_SPI2;
	HAL_GPIO_Init(PMOD_SPI2_SCK_GPIO_Port, &GPIO_InitStruct);

	/*Configure GPIO pins : PMOD_UART2_CTS_Pin PMOD_UART2_RTS_Pin PMOD_UART2_TX_Pin PMOD_UART2_RX_Pin */
	GPIO_InitStruct.Pin = PMOD_UART2_CTS_Pin | PMOD_UART2_RTS_Pin
			| PMOD_UART2_TX_Pin | PMOD_UART2_RX_Pin;
	GPIO_InitStruct.Mode = GPIO_MODE_AF_PP;
	GPIO_InitStruct.Pull = GPIO_NOPULL;
	GPIO_InitStruct.Speed = GPIO_SPEED_FREQ_VERY_HIGH;
	GPIO_InitStruct.Alternate = GPIO_AF7_USART2;
	HAL_GPIO_Init(GPIOD, &GPIO_InitStruct);

	/*Configure GPIO pins : ARD_D15_Pin ARD_D14_Pin */
	GPIO_InitStruct.Pin = ARD_D15_Pin | ARD_D14_Pin;
	GPIO_InitStruct.Mode = GPIO_MODE_AF_OD;
	GPIO_InitStruct.Pull = GPIO_PULLUP;
	GPIO_InitStruct.Speed = GPIO_SPEED_FREQ_VERY_HIGH;
	GPIO_InitStruct.Alternate = GPIO_AF4_I2C1;
	HAL_GPIO_Init(GPIOB, &GPIO_InitStruct);

	/* EXTI interrupt init*/
	HAL_NVIC_SetPriority(EXTI9_5_IRQn, 0, 0);
	HAL_NVIC_EnableIRQ(EXTI9_5_IRQn);

	HAL_NVIC_SetPriority(EXTI15_10_IRQn, 0, 0);
	HAL_NVIC_EnableIRQ(EXTI15_10_IRQn);

}

/* USER CODE BEGIN 4 */

/**
 * @brief  VL53L0X proximity sensor Msp Initialization.
 */
static void VL53L0X_PROXIMITY_MspInit(void) {
	GPIO_InitTypeDef GPIO_InitStruct;

	/*Configure GPIO pin : VL53L0X_XSHUT_Pin */
	GPIO_InitStruct.Pin = VL53L0X_XSHUT_Pin;
	GPIO_InitStruct.Mode = GPIO_MODE_OUTPUT_PP;
	GPIO_InitStruct.Pull = GPIO_PULLUP;
	GPIO_InitStruct.Speed = GPIO_SPEED_FREQ_HIGH;
	HAL_GPIO_Init(VL53L0X_XSHUT_GPIO_Port, &GPIO_InitStruct);

	HAL_GPIO_WritePin(VL53L0X_XSHUT_GPIO_Port, VL53L0X_XSHUT_Pin, GPIO_PIN_SET);

	HAL_Delay(1000);
}

/**
 * @brief  VL53L0X proximity sensor Initialization.
 */
static void VL53L0X_PROXIMITY_Init(void) {
	uint16_t vl53l0x_id = 0;
	VL53L0X_DeviceInfo_t VL53L0X_DeviceInfo;

	/* Initialize IO interface */
	SENSOR_IO_Init();
	VL53L0X_PROXIMITY_MspInit();

	memset(&VL53L0X_DeviceInfo, 0, sizeof(VL53L0X_DeviceInfo_t));

	if (VL53L0X_ERROR_NONE
			== VL53L0X_GetDeviceInfo(&Dev, &VL53L0X_DeviceInfo)) {
		if (VL53L0X_ERROR_NONE
				== VL53L0X_RdWord(&Dev, VL53L0X_REG_IDENTIFICATION_MODEL_ID,
						(uint16_t *) &vl53l0x_id)) {
			if (vl53l0x_id == VL53L0X_ID) {
				if (VL53L0X_ERROR_NONE == VL53L0X_DataInit(&Dev)) {
					Dev.Present = 1;
					SetupSingleShot(Dev);
				} else {
					printf("VL53L0X Time of Flight Failed to send its ID!\n");
				}
			}
		} else {
			printf("VL53L0X Time of Flight Failed to Initialize!\n");
		}
	} else {
		printf("VL53L0X Time of Flight Failed to get infos!\n");
	}
}

/**
 * @brief  Get distance from VL53L0X proximity sensor.
 * @retval Distance in mm
 */
static uint16_t VL53L0X_PROXIMITY_GetDistance(void) {
	VL53L0X_RangingMeasurementData_t RangingMeasurementData;

	VL53L0X_PerformSingleRangingMeasurement(&Dev, &RangingMeasurementData);

	return RangingMeasurementData.RangeMilliMeter;
}

void Send_Data(uint8_t *Data_DAT, uint8_t len_DAT) {

	if (HAL_UART_Transmit(&huart4, (uint8_t*) sendBuff, len_DAT, 5000)
			!= HAL_OK) {
		Error_Handler();
	}

}
void getData() {
//	len = sprintf(sendCheck, "");
//	sendToTerminal(sendCheck, len);
	if (HAL_UART_Receive(&huart4, (uint8_t*) isJoin, sizeof(isJoin), 5000)
			!= HAL_OK) {
		Error_Handler();
	}

}

void sendToTerminal(uint8_t *Data_DAT, uint8_t len_DAT) {

	if (HAL_UART_Transmit(&huart1, (uint8_t*) sendCheck, len_DAT, 5000)
			!= HAL_OK) {
		Error_Handler();
	}

}

void Function_Send_Sensor(uint8_t Sensor_DAT) {

//	uint8_t len;
//	if(Sensor_DAT=='1')
//	{
//		len = sprintf(SEND_BUF,"AT\r\n", Pressure_Value);
//		Send_Data(SEND_BUF,len);
//	}
//	else if(Sensor_DAT=='2')
//	{
//		len = sprintf(SEND_BUF,"HUMIDITY is = %.2f %%\r\n", Hum_Value);
//		Send_Data(SEND_BUF,len);
//	}
//	else if(Sensor_DAT=='3')
//	{
//		len = sprintf(SEND_BUF,"TEMPERATURE is = %.2f °C\r\n", Temp_Value);
//		Send_Data(SEND_BUF,len);
//	}
//	else if(Sensor_DAT=='4')
//	{
//		len = sprintf(SEND_BUF,"ACCELERO xyz = %d, %d, %d\r\n", Acc_Value[0], Acc_Value[1], Acc_Value[2]);
//		Send_Data(SEND_BUF,len);
//	}
//	else if(Sensor_DAT=='5')
//	{
//		len = sprintf(SEND_BUF,"GYRO xyz = %.2f, %.2f, %.2f\r\n", Gyro_Value[0], Gyro_Value[1], Gyro_Value[2]);
//		Send_Data(SEND_BUF,len);
//	}
//	else if(Sensor_DAT=='6')
//	{
//		len = sprintf(SEND_BUF,"MAGNETO xyz = %d, %d, %d\r\n", Mag_Value[0], Mag_Value[1], Mag_Value[2]);
//		Send_Data(SEND_BUF,len);
//	}
//	else if(Sensor_DAT=='7')
//	{
//		len = sprintf(SEND_BUF,"DISTANCE is = %d mm\r\n", Prox_Value);
//		Send_Data(SEND_BUF,len);
//	}
//	else {
//		len = sprintf(SEND_BUF,"no sensor\r\n", Prox_Value);
//		Send_Data(SEND_BUF,len);
//
//	}

}

void HAL_TIM_PeriodElapsedCallback(TIM_HandleTypeDef *htim) {
	BSP_LED_Toggle(LED2);

}
/* USER CODE END 4 */

void Error_Handler(void) {
}

/************************ (C) COPYRIGHT STMicroelectronics *****END OF FILE****/
